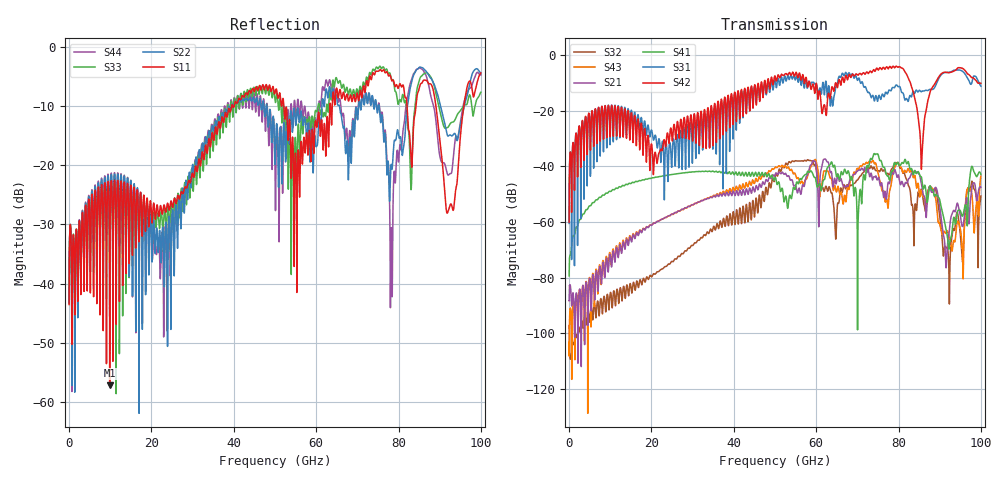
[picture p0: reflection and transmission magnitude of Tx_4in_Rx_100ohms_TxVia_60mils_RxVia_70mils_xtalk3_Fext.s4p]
! Info: Touchstone file created by Circ.  Input file=Tx_4in_Rx_100ohms_TxVia_60mils_RxVia_70mils.circ
# Hz S RI R 50
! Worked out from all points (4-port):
!   10000 points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, 10 MHz to 100 GHz, reference 50 ohm
!   strongest paths, dB at 10 MHz, 25.01 GHz, 50.01 GHz, 75.01 GHz, 100 GHz:
!     S42: -60.0, -30.2, -7.4, -5.2, -10.1
!     S31: -60.5, -37.0, -8.9, -15.9, -11.1
!     S41: -79.4, -42.9, -44.1, -35.6, -42.9
!     S21: -88.4, -57.1, -43.1, -44.3, -47.5
!     S43: -103.3, -57.2, -40.4, -42.2, -43.5
!     S32: -97.2, -74.2, -43.9, -41.5, -50.6
!   lowest |S11| = -57.2 dB at 9.86 GHz (marker M1), VSWR 1.00, Z = 50 - j0.131 ohm
!   |S11| at or under -10 dB: start of sweep to 39.47 GHz; 52.15 GHz to 63.31 GHz (11.16 GHz wide, 19.3 % of centre); 89.08 GHz to 95.87 GHz (6.787 GHz wide, 7.34 % of centre)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
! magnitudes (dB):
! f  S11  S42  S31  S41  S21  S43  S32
! 10 MHz  -43.6  -60.0  -60.5  -79.4  -88.4  -103.3  -97.2
! 9.86 GHz  -57.2  -25.5  -26.8  -48.9  -71.8  -71.0  -87.6
! 54.55 GHz  -23.1  -6.9  -7.4  -47.5  -47.0  -42.6  -38.2
! 78.26 GHz  -5.5  -4.7  -12.5  -41.8  -42.1  -45.9  -41.0
! 85.61 GHz  -6.2  -39.4  -13.0  -44.2  -46.4  -49.0  -48.3
! 91.6 GHz  -27.6  -6.1  -6.2  -63.2  -75.9  -63.6  -69.3
! 100 GHz  -4.4  -10.1  -11.1  -42.9  -47.5  -43.5  -50.6
